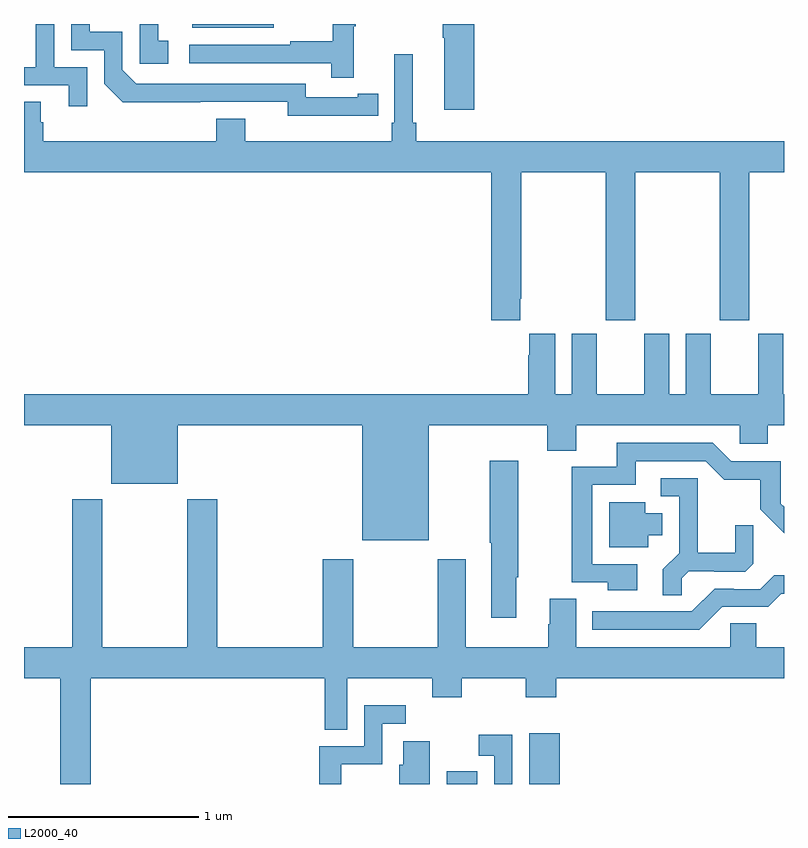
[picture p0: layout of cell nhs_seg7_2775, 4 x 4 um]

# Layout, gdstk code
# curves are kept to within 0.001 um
import gdstk
lib = gdstk.Library(unit=1e-6, precision=1e-09)
def R(c, l, rs):  # rectangles x0, y0, x1, y1
    for r in rs: c.add(gdstk.rectangle(r[:2], r[2:], *l))
def P(c, l, *ps):  # polygons
    for p in ps: c.add(gdstk.Polygon(p, *l))
L2000_40 = (2000, 40)

nhs_seg7_2775 = lib.new_cell('nhs_seg7_2775')
R(nhs_seg7_2775, L2000_40, [(291.224,1060,291.385,1060.068), (291.659,1060,291.82,1060.267), (289.886,1063.979,290.314,1064)])
P(nhs_seg7_2775, L2000_40, [(289.759,1063.911),(289.706,1063.911),(289.706,1064),(289.608,1064),(289.608,1063.791),(289.759,1063.791)],
  [(289.332,1063.773),(289.158,1063.773),(289.158,1064),(289.062,1064),(289.062,1063.773),(289,1063.773),(289,1063.677),(289.235,1063.677),(289.235,1063.566),(289.332,1063.566)],
  [(290.735,1063.987),(290.746,1063.987),(290.746,1064),(290.625,1064),(290.625,1063.91),(290.401,1063.91),(290.401,1063.89),(289.869,1063.89),(289.869,1063.794),(290.617,1063.794),(290.617,1063.716),(290.735,1063.716)],
  [(291.371,1064),(291.205,1064),(291.205,1063.927),(291.212,1063.927),(291.212,1063.548),(291.371,1063.548)],
  [(290.756,1063.518),(290.864,1063.518),(290.864,1063.634),(290.756,1063.634),(290.756,1063.614),(290.484,1063.614),(290.484,1063.686),(289.59,1063.686),(289.518,1063.758),(289.518,1063.959),(289.345,1063.959),(289.345,1064),(289.248,1064),(289.248,1063.863),(289.422,1063.863),(289.422,1063.686),(289.52,1063.589),(290.388,1063.59),(290.388,1063.517)],
  [(291.613,1062.553),(291.618,1062.553),(291.618,1063.22),(292.063,1063.22),(292.063,1062.441),(292.218,1062.441),(292.218,1063.22),(292.663,1063.22),(292.663,1062.441),(292.818,1062.441),(292.818,1063.22),(293,1063.22),(293,1063.384),(291.065,1063.384),(291.065,1063.48),(291.046,1063.48),(291.046,1063.84),(290.949,1063.84),(290.949,1063.48),(290.936,1063.48),(290.936,1063.384),(290.164,1063.384),(290.164,1063.501),(290.012,1063.501),(290.012,1063.384),(289.1,1063.384),(289.1,1063.482),(289.087,1063.482),(289.087,1063.592),(289,1063.592),(289,1063.22),(291.458,1063.22),(291.458,1062.441),(291.613,1062.441)],
  [(291.13,1061.888),(291.755,1061.888),(291.755,1061.755),(291.907,1061.755),(291.907,1061.888),(292.767,1061.888),(292.767,1061.79),(292.914,1061.79),(292.914,1061.888),(293,1061.888),(293,1062.052),(292.996,1062.052),(292.996,1062.37),(292.865,1062.37),(292.865,1062.052),(292.615,1062.052),(292.615,1062.37),(292.484,1062.37),(292.484,1062.052),(292.396,1062.052),(292.396,1062.37),(292.265,1062.37),(292.265,1062.052),(292.015,1062.052),(292.015,1062.37),(291.884,1062.37),(291.884,1062.052),(291.796,1062.052),(291.796,1062.37),(291.659,1062.37),(291.659,1062.257),(291.653,1062.257),(291.653,1062.052),(289,1062.052),(289,1061.888),(289.46,1061.888),(289.46,1061.579),(289.81,1061.579),(289.81,1061.888),(290.78,1061.888),(290.78,1061.282),(291.13,1061.282)],
  [(292.228,1061.157),(291.99,1061.157),(291.99,1061.574),(292.219,1061.574),(292.219,1061.7),(292.587,1061.7),(292.686,1061.602),(292.875,1061.602),(292.875,1061.446),(293,1061.321),(293,1061.458),(292.983,1061.475),(292.983,1061.7),(292.722,1061.7),(292.626,1061.796),(292.121,1061.796),(292.121,1061.67),(291.882,1061.67),(291.882,1061.061),(292.072,1061.061),(292.072,1061.021),(292.228,1061.021)],
  [(291.592,1061.087),(291.6,1061.087),(291.6,1061.701),(291.451,1061.701),(291.451,1061.269),(291.458,1061.269),(291.458,1060.875),(291.592,1060.875)],
  [(292.461,1061.084),(292.498,1061.121),(292.632,1061.121),(292.632,1061.118),(292.797,1061.118),(292.838,1061.159),(292.838,1061.361),(292.744,1061.361),(292.744,1061.218),(292.547,1061.218),(292.547,1061.61),(292.35,1061.61),(292.35,1061.514),(292.449,1061.514),(292.449,1061.215),(292.363,1061.129),(292.363,1060.993),(292.461,1060.993)],
  [(289.352,1060.556),(290.583,1060.556),(290.583,1060.285),(290.701,1060.285),(290.701,1060.556),(291.148,1060.556),(291.148,1060.457),(291.303,1060.457),(291.303,1060.556),(291.64,1060.556),(291.64,1060.457),(291.8,1060.457),(291.8,1060.556),(293,1060.556),(293,1060.72),(292.855,1060.72),(292.855,1060.847),(292.716,1060.847),(292.716,1060.72),(291.907,1060.72),(291.907,1060.976),(291.767,1060.976),(291.767,1060.842),(291.76,1060.842),(291.76,1060.72),(291.325,1060.72),(291.325,1061.182),(291.178,1061.182),(291.178,1060.72),(290.733,1060.72),(290.733,1061.182),(290.573,1061.182),(290.573,1060.72),(290.018,1060.72),(290.018,1061.5),(289.858,1061.5),(289.858,1060.72),(289.413,1060.72),(289.413,1061.5),(289.253,1061.5),(289.253,1060.72),(289,1060.72),(289,1060.556),(289.192,1060.556),(289.192,1060),(289.352,1060)],
  [(292.285,1061.309),(292.36,1061.309),(292.36,1061.425),(292.27,1061.425),(292.27,1061.482),(292.079,1061.482),(292.079,1061.246),(292.285,1061.246)],
  [(292.674,1060.932),(292.917,1060.932),(292.986,1061.001),(293,1061.001),(293,1061.098),(292.948,1061.098),(292.875,1061.025),(292.736,1061.025),(292.736,1061.028),(292.635,1061.028),(292.515,1060.908),(291.992,1060.908),(291.992,1060.812),(292.554,1060.812)],
  [(290.671,1060.104),(290.886,1060.104),(290.886,1060.317),(291.01,1060.317),(291.01,1060.414),(290.79,1060.414),(290.79,1060.2),(290.553,1060.2),(290.553,1060),(290.671,1060)],
  [(291.57,1060.258),(291.393,1060.258),(291.393,1060.149),(291.474,1060.149),(291.474,1060),(291.57,1060)],
  [(291.136,1060.225),(290.996,1060.225),(290.996,1060.101),(290.975,1060.101),(290.975,1060),(291.136,1060)])

lib.write_gds('nhs_seg7_2775.gds')
